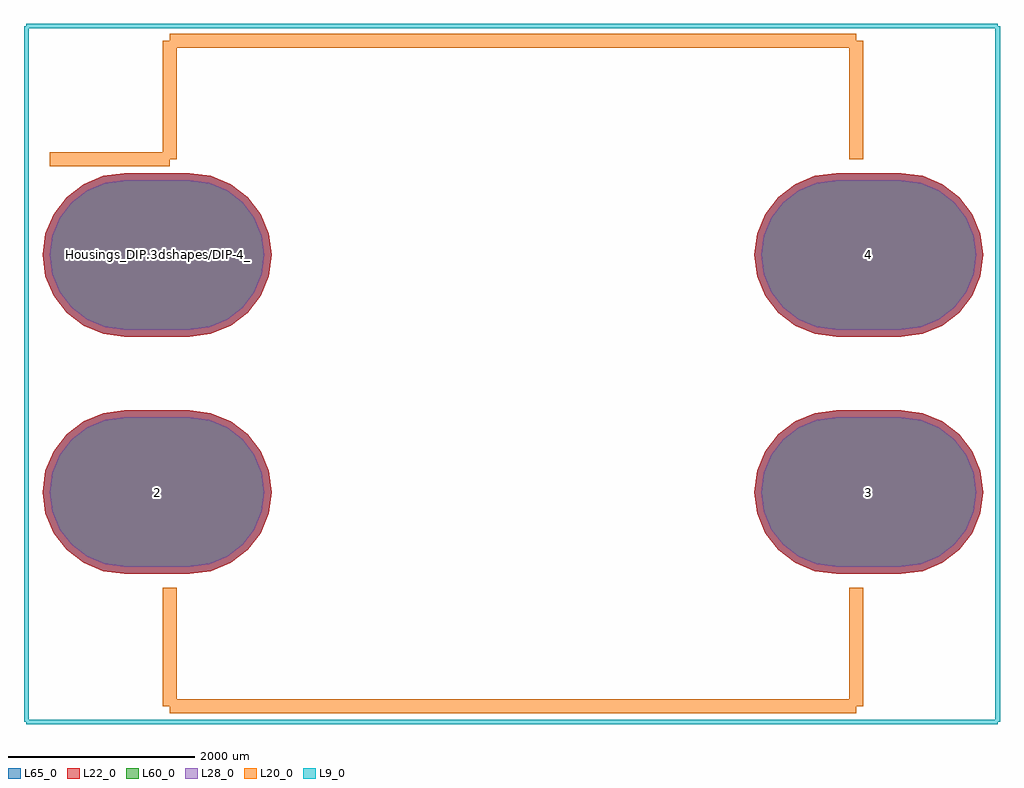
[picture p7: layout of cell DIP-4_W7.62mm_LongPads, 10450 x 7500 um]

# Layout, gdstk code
import gdstk
lib = gdstk.Library(unit=1e-6, precision=1e-09)
def P(c, l, *ps):  # polygons
    for p in ps: c.add(gdstk.Polygon(p, *l))
L9_0 = (9, 0)
L20_0 = (20, 0)
L22_0 = (22, 0)
L28_0 = (28, 0)
L60_0 = (60, 0)
L65_0 = (65, 0)

dip_4_w7_62mm_longpads = lib.new_cell('DIP-4_W7.62mm_LongPads')
P(dip_4_w7_62mm_longpads, L22_0, [(7270,-875),(7970,-875),(8196.467,-845.185),(8407.5,-757.772),(8588.718,-618.718),(8727.772,-437.5),(8815.185,-226.467),(8845,0),(8815.185,226.467),(8727.772,437.5),(8588.718,618.718),(8407.5,757.772),(8196.467,845.185),(7970,875),(7270,875),(7043.533,845.185),(6832.5,757.772),(6651.282,618.718),(6512.228,437.5),(6424.815,226.467),(6395,0),(6424.815,-226.467),(6512.228,-437.5),(6651.282,-618.718),(6832.5,-757.772),(7043.533,-845.185)],
  [(7270,-3415),(7970,-3415),(8196.467,-3385.185),(8407.5,-3297.772),(8588.718,-3158.718),(8727.772,-2977.5),(8815.185,-2766.467),(8845,-2540),(8815.185,-2313.533),(8727.772,-2102.5),(8588.718,-1921.282),(8407.5,-1782.228),(8196.467,-1694.815),(7970,-1665),(7270,-1665),(7043.533,-1694.815),(6832.5,-1782.228),(6651.282,-1921.282),(6512.228,-2102.5),(6424.815,-2313.533),(6395,-2540),(6424.815,-2766.467),(6512.228,-2977.5),(6651.282,-3158.718),(6832.5,-3297.772),(7043.533,-3385.185)],
  [(-350,-3415),(350,-3415),(576.467,-3385.185),(787.5,-3297.772),(968.718,-3158.718),(1107.772,-2977.5),(1195.185,-2766.467),(1225,-2540),(1195.185,-2313.533),(1107.772,-2102.5),(968.718,-1921.282),(787.5,-1782.228),(576.467,-1694.815),(350,-1665),(-350,-1665),(-576.467,-1694.815),(-787.5,-1782.228),(-968.718,-1921.282),(-1107.772,-2102.5),(-1195.185,-2313.533),(-1225,-2540),(-1195.185,-2766.467),(-1107.772,-2977.5),(-968.718,-3158.718),(-787.5,-3297.772),(-576.467,-3385.185)],
  [(-350,-875),(350,-875),(576.467,-845.185),(787.5,-757.772),(968.718,-618.718),(1107.772,-437.5),(1195.185,-226.467),(1225,0),(1195.185,226.467),(1107.772,437.5),(968.718,618.718),(787.5,757.772),(576.467,845.185),(350,875),(-350,875),(-576.467,845.185),(-787.5,757.772),(-968.718,618.718),(-1107.772,437.5),(-1195.185,226.467),(-1225,0),(-1195.185,-226.467),(-1107.772,-437.5),(-968.718,-618.718),(-787.5,-757.772),(-576.467,-845.185)])
P(dip_4_w7_62mm_longpads, L28_0, [(7270,-800),(7970,-800),(8177.055,-772.741),(8370,-692.82),(8535.685,-565.685),(8662.82,-400),(8742.741,-207.055),(8770,0),(8742.741,207.055),(8662.82,400),(8535.685,565.685),(8370,692.82),(8177.055,772.741),(7970,800),(7270,800),(7062.945,772.741),(6870,692.82),(6704.315,565.685),(6577.18,400),(6497.259,207.055),(6470,0),(6497.259,-207.055),(6577.18,-400),(6704.315,-565.685),(6870,-692.82),(7062.945,-772.741)],
  [(7270,-3340),(7970,-3340),(8177.055,-3312.741),(8370,-3232.82),(8535.685,-3105.685),(8662.82,-2940),(8742.741,-2747.055),(8770,-2540),(8742.741,-2332.945),(8662.82,-2140),(8535.685,-1974.315),(8370,-1847.18),(8177.055,-1767.259),(7970,-1740),(7270,-1740),(7062.945,-1767.259),(6870,-1847.18),(6704.315,-1974.315),(6577.18,-2140),(6497.259,-2332.945),(6470,-2540),(6497.259,-2747.055),(6577.18,-2940),(6704.315,-3105.685),(6870,-3232.82),(7062.945,-3312.741)],
  [(-350,-3340),(350,-3340),(557.055,-3312.741),(750,-3232.82),(915.685,-3105.685),(1042.82,-2940),(1122.741,-2747.055),(1150,-2540),(1122.741,-2332.945),(1042.82,-2140),(915.685,-1974.315),(750,-1847.18),(557.055,-1767.259),(350,-1740),(-350,-1740),(-557.055,-1767.259),(-750,-1847.18),(-915.685,-1974.315),(-1042.82,-2140),(-1122.741,-2332.945),(-1150,-2540),(-1122.741,-2747.055),(-1042.82,-2940),(-915.685,-3105.685),(-750,-3232.82),(-557.055,-3312.741)],
  [(-350,-800),(350,-800),(557.055,-772.741),(750,-692.82),(915.685,-565.685),(1042.82,-400),(1122.741,-207.055),(1150,0),(1122.741,207.055),(1042.82,400),(915.685,565.685),(750,692.82),(557.055,772.741),(350,800),(-350,800),(-557.055,772.741),(-750,692.82),(-915.685,565.685),(-1042.82,400),(-1122.741,207.055),(-1150,0),(-1122.741,-207.055),(-1042.82,-400),(-915.685,-565.685),(-750,-692.82),(-557.055,-772.741)])
P(dip_4_w7_62mm_longpads, L60_0, [(7270,-800),(7970,-800),(8177.055,-772.741),(8370,-692.82),(8535.685,-565.685),(8662.82,-400),(8742.741,-207.055),(8770,0),(8742.741,207.055),(8662.82,400),(8535.685,565.685),(8370,692.82),(8177.055,772.741),(7970,800),(7270,800),(7062.945,772.741),(6870,692.82),(6704.315,565.685),(6577.18,400),(6497.259,207.055),(6470,0),(6497.259,-207.055),(6577.18,-400),(6704.315,-565.685),(6870,-692.82),(7062.945,-772.741)],
  [(7270,-3340),(7970,-3340),(8177.055,-3312.741),(8370,-3232.82),(8535.685,-3105.685),(8662.82,-2940),(8742.741,-2747.055),(8770,-2540),(8742.741,-2332.945),(8662.82,-2140),(8535.685,-1974.315),(8370,-1847.18),(8177.055,-1767.259),(7970,-1740),(7270,-1740),(7062.945,-1767.259),(6870,-1847.18),(6704.315,-1974.315),(6577.18,-2140),(6497.259,-2332.945),(6470,-2540),(6497.259,-2747.055),(6577.18,-2940),(6704.315,-3105.685),(6870,-3232.82),(7062.945,-3312.741)],
  [(-350,-3340),(350,-3340),(557.055,-3312.741),(750,-3232.82),(915.685,-3105.685),(1042.82,-2940),(1122.741,-2747.055),(1150,-2540),(1122.741,-2332.945),(1042.82,-2140),(915.685,-1974.315),(750,-1847.18),(557.055,-1767.259),(350,-1740),(-350,-1740),(-557.055,-1767.259),(-750,-1847.18),(-915.685,-1974.315),(-1042.82,-2140),(-1122.741,-2332.945),(-1150,-2540),(-1122.741,-2747.055),(-1042.82,-2940),(-915.685,-3105.685),(-750,-3232.82),(-557.055,-3312.741)],
  [(-350,-800),(350,-800),(557.055,-772.741),(750,-692.82),(915.685,-565.685),(1042.82,-400),(1122.741,-207.055),(1150,0),(1122.741,207.055),(1042.82,400),(915.685,565.685),(750,692.82),(557.055,772.741),(350,800),(-350,800),(-557.055,772.741),(-750,692.82),(-915.685,565.685),(-1042.82,400),(-1122.741,207.055),(-1150,0),(-1122.741,-207.055),(-1042.82,-400),(-915.685,-565.685),(-750,-692.82),(-557.055,-772.741)])
P(dip_4_w7_62mm_longpads, L65_0, [(7270,-875),(7970,-875),(8196.467,-845.185),(8407.5,-757.772),(8588.718,-618.718),(8727.772,-437.5),(8815.185,-226.467),(8845,0),(8815.185,226.467),(8727.772,437.5),(8588.718,618.718),(8407.5,757.772),(8196.467,845.185),(7970,875),(7270,875),(7043.533,845.185),(6832.5,757.772),(6651.282,618.718),(6512.228,437.5),(6424.815,226.467),(6395,0),(6424.815,-226.467),(6512.228,-437.5),(6651.282,-618.718),(6832.5,-757.772),(7043.533,-845.185)],
  [(7270,-3415),(7970,-3415),(8196.467,-3385.185),(8407.5,-3297.772),(8588.718,-3158.718),(8727.772,-2977.5),(8815.185,-2766.467),(8845,-2540),(8815.185,-2313.533),(8727.772,-2102.5),(8588.718,-1921.282),(8407.5,-1782.228),(8196.467,-1694.815),(7970,-1665),(7270,-1665),(7043.533,-1694.815),(6832.5,-1782.228),(6651.282,-1921.282),(6512.228,-2102.5),(6424.815,-2313.533),(6395,-2540),(6424.815,-2766.467),(6512.228,-2977.5),(6651.282,-3158.718),(6832.5,-3297.772),(7043.533,-3385.185)],
  [(-350,-3415),(350,-3415),(576.467,-3385.185),(787.5,-3297.772),(968.718,-3158.718),(1107.772,-2977.5),(1195.185,-2766.467),(1225,-2540),(1195.185,-2313.533),(1107.772,-2102.5),(968.718,-1921.282),(787.5,-1782.228),(576.467,-1694.815),(350,-1665),(-350,-1665),(-576.467,-1694.815),(-787.5,-1782.228),(-968.718,-1921.282),(-1107.772,-2102.5),(-1195.185,-2313.533),(-1225,-2540),(-1195.185,-2766.467),(-1107.772,-2977.5),(-968.718,-3158.718),(-787.5,-3297.772),(-576.467,-3385.185)],
  [(-350,-875),(350,-875),(576.467,-845.185),(787.5,-757.772),(968.718,-618.718),(1107.772,-437.5),(1195.185,-226.467),(1225,0),(1195.185,226.467),(1107.772,437.5),(968.718,618.718),(787.5,757.772),(576.467,845.185),(350,875),(-350,875),(-576.467,845.185),(-787.5,757.772),(-968.718,618.718),(-1107.772,437.5),(-1195.185,226.467),(-1225,0),(-1195.185,-226.467),(-1107.772,-437.5),(-968.718,-618.718),(-787.5,-757.772),(-576.467,-845.185)])
dip_4_w7_62mm_longpads.add(gdstk.FlexPath([(135,1025),(-1150,1025)], 149.998, ends="flush", simple_path=True, layer=20, datatype=0))  # L20_0
dip_4_w7_62mm_longpads.add(gdstk.FlexPath([(135,-4835),(7485,-4835)], 149.998, ends="flush", simple_path=True, layer=20, datatype=0))  # L20_0
dip_4_w7_62mm_longpads.add(gdstk.FlexPath([(135,2295),(7485,2295)], 149.998, ends="flush", simple_path=True, layer=20, datatype=0))  # L20_0
dip_4_w7_62mm_longpads.add(gdstk.FlexPath([(135,-4835),(135,-3565)], 149.998, ends="flush", simple_path=True, layer=20, datatype=0))  # L20_0
dip_4_w7_62mm_longpads.add(gdstk.FlexPath([(7485,-4835),(7485,-3565)], 149.998, ends="flush", simple_path=True, layer=20, datatype=0))  # L20_0
dip_4_w7_62mm_longpads.add(gdstk.FlexPath([(7485,2295),(7485,1025)], 149.998, ends="flush", simple_path=True, layer=20, datatype=0))  # L20_0
dip_4_w7_62mm_longpads.add(gdstk.FlexPath([(135,2295),(135,1025)], 149.998, ends="flush", simple_path=True, layer=20, datatype=0))  # L20_0
dip_4_w7_62mm_longpads.add(gdstk.FlexPath([(-1400,-5000),(9000,-5000)], 50, ends="flush", simple_path=True, layer=9, datatype=0))  # L9_0
dip_4_w7_62mm_longpads.add(gdstk.FlexPath([(-1400,2450),(9000,2450)], 50, ends="flush", simple_path=True, layer=9, datatype=0))  # L9_0
dip_4_w7_62mm_longpads.add(gdstk.FlexPath([(9000,2450),(9000,-5000)], 50, ends="flush", simple_path=True, layer=9, datatype=0))  # L9_0
dip_4_w7_62mm_longpads.add(gdstk.FlexPath([(-1400,2450),(-1400,-5000)], 50, ends="flush", simple_path=True, layer=9, datatype=0))  # L9_0
dip_4_w7_62mm_longpads.add(gdstk.Label('Housings_DIP.3dshapes/DIP-4_W7.62mm_LongPads.wrl', (0,0), layer=12, texttype=0))
dip_4_w7_62mm_longpads.add(gdstk.Label('4', (7620,0), layer=28, texttype=0))
dip_4_w7_62mm_longpads.add(gdstk.Label('3', (7620,-2540), layer=28, texttype=0))
dip_4_w7_62mm_longpads.add(gdstk.Label('2', (0,-2540), layer=28, texttype=0))
dip_4_w7_62mm_longpads.add(gdstk.Label('1', (0,0), layer=28, texttype=0))
dip_4_w7_62mm_longpads.add(gdstk.Label('type', (0,3720), layer=9, texttype=0))
dip_4_w7_62mm_longpads.add(gdstk.Label('devicename', (0,5220), layer=9, texttype=0))

lib.write_gds('DIP-4_W7.62mm_LongPads.gds')
